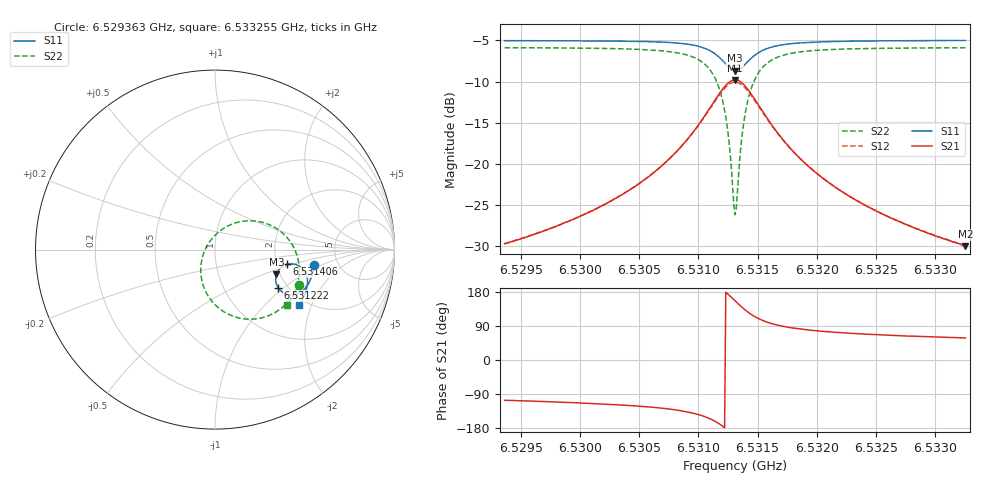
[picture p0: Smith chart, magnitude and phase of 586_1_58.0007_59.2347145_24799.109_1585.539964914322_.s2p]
#  HZ  S  RI  R  50.00
! Rohde & Schwarz Vector Network Analyzer
! Rohde-Schwarz,ZNB20-2Port,1311601062101988,3.16
! Created: UTC 3/21/2024, 1:16:37 AM
! freq[Hz]  re:S11  im:S11  re:S21  im:S21  re:S12  im:S12  re:S22  im:S22
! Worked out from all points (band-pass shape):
!   401 points, 6.529363 GHz to 6.533255 GHz, reference 50 ohm
!   highest |S21| = -9.79 dB at 6.531309 GHz (marker M1); lowest = -30.0 dB at 6.533255 GHz (marker M2)
!   |S21| within 3 dB of the highest: 6.531116 GHz to 6.531505 GHz (389 kHz wide, 0.00596 % of centre)
!   lowest |S11| = -8.7 dB at 6.531309 GHz (marker M3), VSWR 2.17, Z = 95.6 - j30.7 ohm
!   |S11| at or under -10 dB: nowhere
!   |S22| runs from -26.2 to -5.9 dB; largest |S21 - S12| = 0.013
!   S11 on the Smith chart (normalised r, x): 6.529363 GHz: 3.33, -0.82; 6.531222 GHz: 1.79, -0.92; 6.531406 GHz: 2.29, -0.45; 6.533255 GHz: 1.82, -1.64
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6.529363e9  0.5541 -0.0846  -0.00922 -0.0315  -0.00985 -0.0314  0.4687 -0.1962
6.530015e9  0.5419 -0.1392  -0.0194 -0.0446  -0.0205 -0.0442  0.4349 -0.2566
6.5303653e9  0.5297 -0.1723  -0.032 -0.0576  -0.0336 -0.0567  0.4017 -0.2977
6.5306669e9  0.5109 -0.2053  -0.056 -0.076  -0.0581 -0.0742  0.3477 -0.3424
6.5308907e9  0.482 -0.2342  -0.0984 -0.0951  -0.1012 -0.0916  0.2625 -0.3796
6.5310561e9  0.4356 -0.2519  -0.1703 -0.0995  -0.1724 -0.0924  0.1311 -0.3804
6.5311534e9  0.3886 -0.2441  -0.2425 -0.0694  -0.241 -0.0592  0.011 -0.3171
6.5312216e9  0.3527 -0.2135  -0.2946 -0.00614  -0.2876 0.00414  -0.065 -0.2017
6.5312508e9  0.3421 -0.1916  -0.3077 0.035  -0.2983 0.0438  -0.079 -0.1313
6.5312897e9  0.3384 -0.1566  -0.3068 0.0981  -0.2951 0.103  -0.0661 -0.0286
6.5313091e9  0.3422 -0.1386  -0.297 0.1293  -0.2849 0.1323  -0.0446 0.0208
6.5313189e9  0.3456 -0.13  -0.2897 0.1443  -0.2779 0.1461  -0.0301 0.0437
6.5313286e9  0.3499 -0.1219  -0.2812 0.1583  -0.2692 0.159  -0.0136 0.065
6.5313675e9  0.3736 -0.0957  -0.2359 0.2025  -0.2261 0.2001  0.0676 0.1296
6.5314064e9  0.4029 -0.082  -0.1836 0.2254  -0.1765 0.2214  0.1576 0.1582
6.5314746e9  0.4485 -0.0828  -0.1039 0.225  -0.1004 0.2213  0.2905 0.1435
6.5315719e9  0.4881 -0.1068  -0.0365 0.1899  -0.035 0.188  0.399 0.0697
6.5317178e9  0.5102 -0.1446  0.00312 0.1394  0.00421 0.1387  0.4566 -0.0312
6.5319611e9  0.5151 -0.1889  0.0192 0.0906  0.0202 0.0903  0.4693 -0.1323
6.5322627e9  0.5081 -0.226  0.0211 0.0608  0.0221 0.0607  0.4573 -0.2006
6.532613e9  0.4962 -0.2587  0.0198 0.0431  0.0205 0.0429  0.4385 -0.2493
6.5332553e9  0.4707 -0.3076  0.0167 0.027  0.0175 0.0268  0.4037 -0.3076
